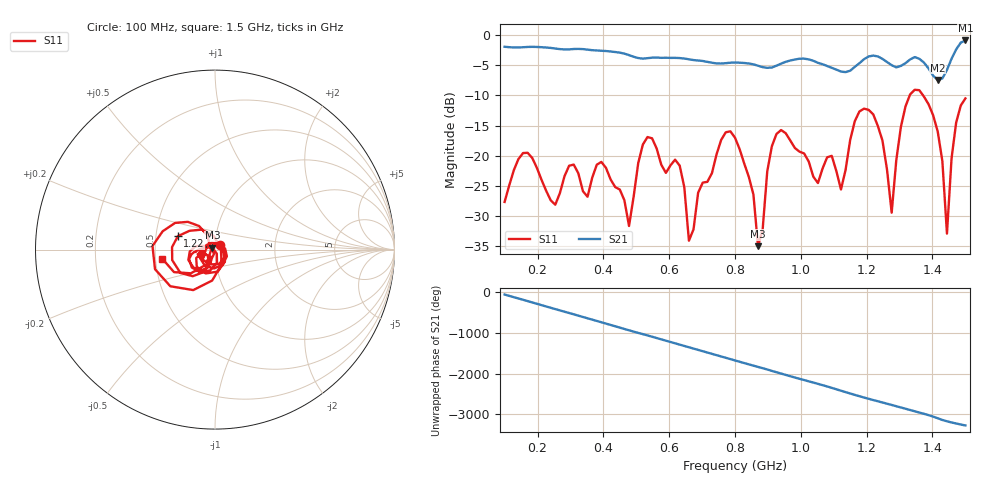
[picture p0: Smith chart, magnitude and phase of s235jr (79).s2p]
! NanoVNA-App
! Date: 2025-09-26 09:45:24
! Start: 100MHz Stop: 1,5GHz Points: 101
! S-Parameter data: F S11 S21 S12 S22
# Hz S RI R 50
!  Frequency  S11_Real  S11_Imag  S21_Real  S21_Imag  S12_Real  S12_Imag  S22_Real  S22_Imag
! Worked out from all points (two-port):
!   101 points, 100 MHz to 1.5 GHz, reference 50 ohm
!   highest |S21| = -0.91 dB at 1.5 GHz (marker M1); lowest = -7.5 dB at 1.416 GHz (marker M2)
!   |S21| within 3 dB of the highest: start of sweep to 518.7 MHz; 521.7 MHz to 646.5 MHz (124.8 MHz wide, 21.4 % of centre) (the widest 2 of 5)
!   lowest |S11| = -35.0 dB at 870 MHz (marker M3), VSWR 1.04, Z = 48.5 + j0.969 ohm
!   |S11| at or under -10 dB: start of sweep to 1.331 GHz; 1.371 GHz to end of sweep
!   S12 and S22 are empty: the file has one direction only
!   S11 on the Smith chart (normalised r, x): 100 MHz: 1.06, +0.06; 1.22 GHz: 0.65, +0.10; 1.5 GHz: 0.54, -0.06
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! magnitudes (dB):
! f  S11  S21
! 100 MHz  -27.6  -2.0
! 156 MHz  -19.6  -2.0
! 338 MHz  -25.9  -2.3
! 394 MHz  -21.0  -2.6
! 478 MHz  -31.6  -3.3
! 520 MHz  -18.2  -3.9
! 576 MHz  -21.5  -3.8
! 632 MHz  -21.6  -3.8
! 660 MHz  -34.1  -4.0
! 800 MHz  -17.0  -4.6
! 870 MHz  -35.0  -5.1
! 926 MHz  -16.4  -5.1
! 1.038 GHz  -23.5  -4.3
! 1.122 GHz  -25.6  -6.1
! 1.164 GHz  -14.3  -5.3
! 1.22 GHz  -13.2  -3.4
! 1.276 GHz  -29.4  -5.0
! 1.332 GHz  -9.8  -4.1
! 1.416 GHz  -16.0  -7.5
! 1.444 GHz  -32.9  -5.8
! 1.472 GHz  -14.5  -2.4
! 1.5 GHz  -10.5  -0.9
